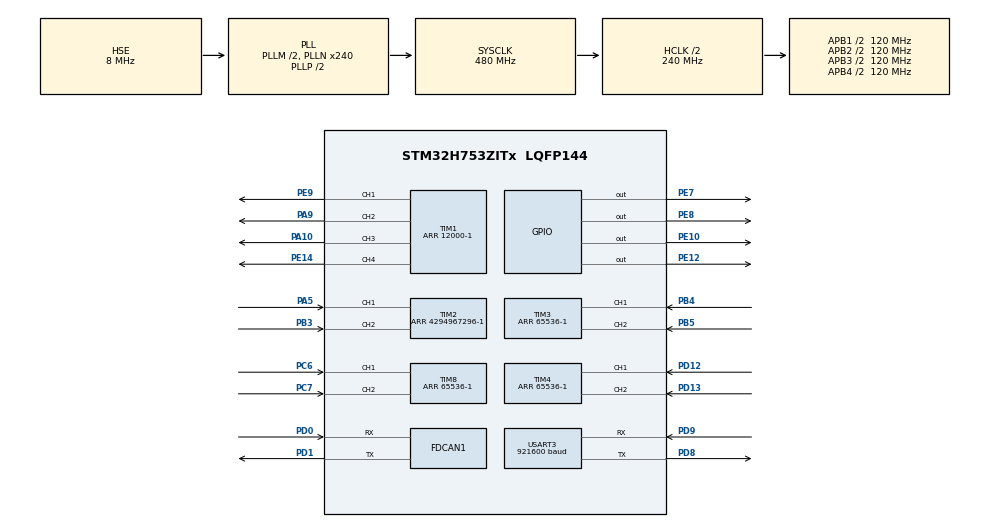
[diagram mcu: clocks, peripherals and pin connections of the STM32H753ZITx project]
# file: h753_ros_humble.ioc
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CORTEX_M7.AccessPermission_Spec=MPU_REGION_FULL_ACCESS
CORTEX_M7.BaseAddress_Spec=0x38000000
CORTEX_M7.CPU_DCache=Enabled
CORTEX_M7.CPU_ICache=Enabled
CORTEX_M7.Enable_S-Cortex_Memory_Protection_Unit_Region1_Settings_S=__NULL
CORTEX_M7.MPU_Control=MPU_HFNMI_PRIVDEF
CORTEX_M7.Size_Spec=MPU_REGION_SIZE_64KB
CORTEX_M7.SubRegionDisable_Spec=0x00
CORTEX_M7.TypeExtField_Spec=MPU_TEX_LEVEL1
CORTEX_M7.default_mode_Activation=1
Dma.Request0=TIM1_UP
Dma.Request1=USART3_RX
Dma.Request2=USART3_TX
Dma.TIM1_UP.0.Direction=DMA_MEMORY_TO_PERIPH
Dma.TIM1_UP.0.EventEnable=DISABLE
Dma.TIM1_UP.0.FIFOMode=DMA_FIFOMODE_ENABLE
Dma.TIM1_UP.0.FIFOThreshold=DMA_FIFO_THRESHOLD_FULL
Dma.TIM1_UP.0.Instance=DMA1_Stream0
Dma.TIM1_UP.0.MemBurst=DMA_MBURST_SINGLE
Dma.TIM1_UP.0.MemDataAlignment=DMA_MDATAALIGN_WORD
Dma.TIM1_UP.0.MemInc=DMA_MINC_ENABLE
Dma.TIM1_UP.0.Mode=DMA_CIRCULAR
Dma.TIM1_UP.0.PeriphBurst=DMA_PBURST_SINGLE
Dma.TIM1_UP.0.PeriphDataAlignment=DMA_PDATAALIGN_WORD
Dma.TIM1_UP.0.PeriphInc=DMA_PINC_DISABLE
Dma.TIM1_UP.0.Polarity=HAL_DMAMUX_REQ_GEN_RISING
Dma.TIM1_UP.0.Priority=DMA_PRIORITY_HIGH
Dma.TIM1_UP.0.RequestNumber=1
Dma.TIM1_UP.0.SignalID=NONE
Dma.TIM1_UP.0.SyncEnable=DISABLE
Dma.TIM1_UP.0.SyncPolarity=HAL_DMAMUX_SYNC_NO_EVENT
Dma.TIM1_UP.0.SyncRequestNumber=1
Dma.TIM1_UP.0.SyncSignalID=NONE
Dma.USART3_RX.1.Direction=DMA_PERIPH_TO_MEMORY
Dma.USART3_RX.1.EventEnable=DISABLE
Dma.USART3_RX.1.FIFOMode=DMA_FIFOMODE_DISABLE
Dma.USART3_RX.1.Instance=DMA1_Stream3
Dma.USART3_RX.1.MemDataAlignment=DMA_MDATAALIGN_BYTE
Dma.USART3_RX.1.MemInc=DMA_MINC_ENABLE
Dma.USART3_RX.1.Mode=DMA_CIRCULAR
Dma.USART3_RX.1.PeriphDataAlignment=DMA_PDATAALIGN_BYTE
Dma.USART3_RX.1.PeriphInc=DMA_PINC_DISABLE
Dma.USART3_RX.1.Polarity=HAL_DMAMUX_REQ_GEN_RISING
Dma.USART3_RX.1.Priority=DMA_PRIORITY_LOW
Dma.USART3_RX.1.RequestNumber=1
Dma.USART3_RX.1.SignalID=NONE
Dma.USART3_RX.1.SyncEnable=DISABLE
Dma.USART3_RX.1.SyncPolarity=HAL_DMAMUX_SYNC_NO_EVENT
Dma.USART3_RX.1.SyncRequestNumber=1
Dma.USART3_RX.1.SyncSignalID=NONE
Dma.USART3_TX.2.Direction=DMA_MEMORY_TO_PERIPH
Dma.USART3_TX.2.EventEnable=DISABLE
Dma.USART3_TX.2.FIFOMode=DMA_FIFOMODE_DISABLE
Dma.USART3_TX.2.Instance=DMA1_Stream4
Dma.USART3_TX.2.MemDataAlignment=DMA_MDATAALIGN_BYTE
Dma.USART3_TX.2.MemInc=DMA_MINC_ENABLE
Dma.USART3_TX.2.Mode=DMA_NORMAL
Dma.USART3_TX.2.PeriphDataAlignment=DMA_PDATAALIGN_BYTE
Dma.USART3_TX.2.PeriphInc=DMA_PINC_DISABLE
Dma.USART3_TX.2.Polarity=HAL_DMAMUX_REQ_GEN_RISING
Dma.USART3_TX.2.Priority=DMA_PRIORITY_LOW
Dma.USART3_TX.2.RequestNumber=1
Dma.USART3_TX.2.SignalID=NONE
Dma.USART3_TX.2.SyncEnable=DISABLE
Dma.USART3_TX.2.SyncPolarity=HAL_DMAMUX_SYNC_NO_EVENT
Dma.USART3_TX.2.SyncRequestNumber=1
Dma.USART3_TX.2.SyncSignalID=NONE
FDCAN1.CalculateBaudRateNominal=1000000
FDCAN1.CalculateTimeBitNominal=1000
FDCAN1.CalculateTimeQuantumNominal=41.666666666666664
FREERTOS.Tasks01=defaultTask,24,4096,StartDefaultTask,Default,NULL,Dynamic,NULL,NULL
FREERTOS.configCHECK_FOR_STACK_OVERFLOW=2
FREERTOS.configENABLE_FPU=1
FREERTOS.configMINIMAL_STACK_SIZE=512
FREERTOS.configTOTAL_HEAP_SIZE=64000
Mcu.Family=STM32H7
Mcu.Name=STM32H753ZITx
Mcu.Package=LQFP144
NUCLEO-H753ZI.BUTTON=1
NUCLEO-H753ZI.Bsp_Common_DEMO=true
NUCLEO-H753ZI.LD1=true
NUCLEO-H753ZI.LD2=true
NUCLEO-H753ZI.LD3=true
NUCLEO-H753ZI.VCP=false
NVIC.DMA1_Stream0_IRQn=true\:5\:0\:false\:false\:true\:true\:false\:true\:true
NVIC.DMA1_Stream3_IRQn=true\:5\:0\:false\:false\:true\:true\:false\:true\:true
NVIC.DMA1_Stream4_IRQn=true\:5\:0\:false\:false\:true\:true\:false\:true\:true
NVIC.EXTI15_10_IRQn=true\:5\:0\:false\:false\:true\:true\:false\:true\:true
NVIC.PriorityGroup=NVIC_PRIORITYGROUP_4
NVIC.TIM2_IRQn=true\:5\:0\:false\:false\:true\:true\:true\:true\:true
NVIC.TIM3_IRQn=true\:5\:0\:false\:false\:true\:true\:true\:true\:true
NVIC.TIM4_IRQn=true\:5\:0\:false\:false\:true\:true\:true\:true\:true
NVIC.TIM6_DAC_IRQn=true\:15\:0\:false\:false\:true\:false\:false\:true\:true
NVIC.TIM8_UP_TIM13_IRQn=true\:5\:0\:false\:false\:true\:true\:true\:true\:true
NVIC.TimeBase=TIM6_DAC_IRQn
NVIC.TimeBaseIP=TIM6
NVIC.USART3_IRQn=true\:5\:0\:false\:false\:true\:true\:true\:true\:true
PA10.Signal=S_TIM1_CH3
PA13\ (JTMS/SWDIO).Mode=Serial_Wire
PA13\ (JTMS/SWDIO).Signal=DEBUG_JTMS-SWDIO
PA14\ (JTCK/SWCLK).Mode=Serial_Wire
PA14\ (JTCK/SWCLK).Signal=DEBUG_JTCK-SWCLK
PA5.Signal=S_TIM2_CH1_ETR
PB4\ (NJTRST).Signal=S_TIM3_CH1
PB5.Signal=S_TIM3_CH2
PA9.Signal=S_TIM1_CH2
PB3\ (JTDO/TRACESWO).Signal=S_TIM2_CH2
PC14-OSC32_IN\ (OSC32_IN).Signal=RCC_OSC32_IN
PC15-OSC32_OUT\ (OSC32_OUT).Signal=RCC_OSC32_OUT
PC6.Signal=S_TIM8_CH1
PC7.Signal=S_TIM8_CH2
PD12.Signal=S_TIM4_CH1
PD13.Signal=S_TIM4_CH2
PD0.GPIO_Speed=GPIO_SPEED_FREQ_VERY_HIGH
PD0.Mode=FDCAN_Activate
PD0.Signal=FDCAN1_RX
PD1.GPIO_Speed=GPIO_SPEED_FREQ_VERY_HIGH
PD1.Mode=FDCAN_Activate
PD1.Signal=FDCAN1_TX
PD8.GPIO_Speed=GPIO_SPEED_FREQ_MEDIUM
PD8.Mode=Asynchronous
PD8.Signal=USART3_TX
PD9.GPIO_Speed=GPIO_SPEED_FREQ_MEDIUM
PD9.Mode=Asynchronous
PD9.Signal=USART3_RX
PE10.Signal=GPIO_Output
PE12.Signal=GPIO_Output
PE14.Signal=S_TIM1_CH4
PE7.Signal=GPIO_Output
PE8.Signal=GPIO_Output
PE9.Signal=S_TIM1_CH1
PH0-OSC_IN\ (PH0).Mode=HSE-External-Clock-Source
PH0-OSC_IN\ (PH0).Signal=RCC_OSC_IN
PH1-OSC_OUT\ (PH1).Signal=RCC_OSC_OUT
ProjectManager.HeapSize=0x200
ProjectManager.StackSize=0x400
ProjectManager.TargetToolchain=CMake
RCC.ADCFreq_Value=240000000
RCC.APB1Freq_Value=120000000
RCC.APB2Freq_Value=120000000
RCC.APB3Freq_Value=120000000
RCC.APB4Freq_Value=120000000
RCC.CortexFreq_Value=480000000
RCC.D1PPRE=RCC_APB3_DIV2
RCC.D2PPRE1=RCC_APB1_DIV2
RCC.D2PPRE2=RCC_APB2_DIV2
RCC.D3PPRE=RCC_APB4_DIV2
RCC.DIVM1=2
RCC.DIVM2=2
RCC.DIVN1=240
RCC.DIVN2=120
RCC.DIVQ1=4
RCC.DIVQ2=4
RCC.FDCANCLockSelection=RCC_FDCANCLKSOURCE_PLL2
RCC.HCLKFreq_Value=240000000
RCC.HPRE=RCC_HCLK_DIV2
RCC.HSE_VALUE=8000000
RCC.PLLFRACN=0
RCC.PLLSourceVirtual=RCC_PLLSOURCE_HSE
RCC.PWR_Regulator_Voltage_Scale=PWR_REGULATOR_VOLTAGE_SCALE0
RCC.SYSCLKFreq_VALUE=480000000
RCC.SYSCLKSource=RCC_SYSCLKSOURCE_PLLCLK
RCC.USBFreq_Value=240000000
SH.S_TIM1_CH1.0=TIM1_CH1,PWM Generation1 CH1
SH.S_TIM1_CH2.0=TIM1_CH2,PWM Generation2 CH2
SH.S_TIM1_CH3.0=TIM1_CH3,PWM Generation3 CH3
SH.S_TIM1_CH4.0=TIM1_CH4,PWM Generation4 CH4
SH.S_TIM2_CH1_ETR.0=TIM2_CH1,Encoder_Interface
SH.S_TIM2_CH2.0=TIM2_CH2,Encoder_Interface
SH.S_TIM3_CH1.0=TIM3_CH1,Encoder_Interface
SH.S_TIM3_CH2.0=TIM3_CH2,Encoder_Interface
SH.S_TIM4_CH1.0=TIM4_CH1,Encoder_Interface
SH.S_TIM4_CH2.0=TIM4_CH2,Encoder_Interface
SH.S_TIM8_CH1.0=TIM8_CH1,Encoder_Interface
SH.S_TIM8_CH2.0=TIM8_CH2,Encoder_Interface
TIM1.AutoReloadPreload=TIM_AUTORELOAD_PRELOAD_ENABLE
TIM1.Channel-PWM\ Generation1\ CH1=TIM_CHANNEL_1
TIM1.Channel-PWM\ Generation2\ CH2=TIM_CHANNEL_2
TIM1.Channel-PWM\ Generation3\ CH3=TIM_CHANNEL_3
TIM1.Channel-PWM\ Generation4\ CH4=TIM_CHANNEL_4
TIM1.Period=12000-1
TIM2.AutoReloadPreload=TIM_AUTORELOAD_PRELOAD_ENABLE
TIM2.EncoderMode=TIM_ENCODERMODE_TI12
TIM2.Period=4294967296-1
TIM3.AutoReloadPreload=TIM_AUTORELOAD_PRELOAD_ENABLE
TIM3.EncoderMode=TIM_ENCODERMODE_TI12
TIM3.Period=65536-1
TIM4.AutoReloadPreload=TIM_AUTORELOAD_PRELOAD_ENABLE
TIM4.EncoderMode=TIM_ENCODERMODE_TI12
TIM4.Period=65536-1
TIM8.AutoReloadPreload=TIM_AUTORELOAD_PRELOAD_ENABLE
TIM8.EncoderMode=TIM_ENCODERMODE_TI12
TIM8.Period=65536-1
USART3.BaudRate=921600
USART3.VirtualMode-Asynchronous=VM_ASYNC
VP_FREERTOS_VS_CMSIS_V2.Mode=CMSIS_V2
VP_MEMORYMAP_VS_MEMORYMAP.Mode=CurAppReg
VP_NUCLEO-H753ZI_VS_BSP_COMMON.Mode=COMMON
VP_SYS_VS_tim6.Mode=TIM6
board=NUCLEO-H753ZI

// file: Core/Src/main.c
/* USER CODE BEGIN Header */
/**
  ******************************************************************************
  * @file           : main.c
  * @brief          : Main program body
  ******************************************************************************
  * @attention
  *
  * Copyright (c) 2026 STMicroelectronics.
  * All rights reserved.
  *
  * This software is licensed under terms that can be found in the LICENSE file
  * in the root directory of this software component.
  * If no LICENSE file comes with this software, it is provided AS-IS.
  *
  ******************************************************************************
  */
/* USER CODE END Header */
#include "main.h"
#include "FreeRTOS.h"
#include "cmsis_os2.h"
#include "dma.h"
#include "fdcan.h"
#include "tim.h"
#include "usart.h"
#include "gpio.h"

/* USER CODE BEGIN PD */
/* Keep UART4 as an optional fallback debug port, but do not initialize it
 * unless we intentionally split transport and human-readable logs. */
#define APP_ENABLE_UART4_DEBUG 0

/* USER CODE END PD */

__IO uint32_t BspButtonState = BUTTON_RELEASED;

void SystemClock_Config(void);
static void MPU_Config(void);
void MX_FREERTOS_Init(void);

/* USER CODE BEGIN 0 */
#include "app_robot.h"
/* USER CODE END 0 */

int main(void)
{

  /* MPU Configuration--------------------------------------------------------*/
  MPU_Config();

  /* Enable the CPU Cache */

  /* Enable I-Cache---------------------------------------------------------*/
  SCB_EnableICache();

  /* Enable D-Cache---------------------------------------------------------*/
  SCB_EnableDCache();

  /* MCU Configuration--------------------------------------------------------*/

  /* Reset of all peripherals, Initializes the Flash interface and the Systick. */
  HAL_Init();

  /* USER CODE BEGIN Init */
  /* Catch bus/memory/usage faults individually instead of escalating everything to HardFault. */
  SCB->SHCSR |= SCB_SHCSR_MEMFAULTENA_Msk;
  SCB->SHCSR |= SCB_SHCSR_BUSFAULTENA_Msk;
  SCB->SHCSR |= SCB_SHCSR_USGFAULTENA_Msk;
  /* Keep divide-by-zero trapping enabled.
   * Unaligned trap is intentionally left off: during micro-ROS bring-up it converted
   * middleware/serialization accesses into UsageFault(UNALIGNED), while Cortex-M7 can
   * handle those accesses in hardware. Re-enable it only after auditing the full stack. */
  SCB->CCR |= SCB_CCR_DIV_0_TRP_Msk;

  /* USER CODE END Init */

  /* Configure the system clock */
  SystemClock_Config();

  /* Initialize all configured peripherals */
  MX_GPIO_Init();
  MX_DMA_Init();
  MX_FDCAN1_Init();
  MX_TIM1_Init();
  MX_TIM2_Init();
  MX_TIM3_Init();
  MX_TIM4_Init();
  MX_USART3_UART_Init();
  MX_TIM8_Init();
  /* USER CODE BEGIN 2 */
  /* Bind the four encoder timers once at boot so the rest of the application
   * can stay independent from the Cube-generated timer globals. */
  app_robot_timer_map_t timer_map = {
      .front_left = &htim3,
      .front_right = &htim4,
      .rear_left = &htim2,
      /* Temporary debug path: move RR encoder off TIM5 onto TIM8 (PC6/PC7). */
      .rear_right = &htim8,
  };

  if (!app_robot_init(&timer_map)) {
    Error_Handler();
  }
  /* USER CODE END 2 */

  /* Init scheduler */
  osKernelInitialize();  /* Call init function for freertos objects (in cmsis_os2.c) */
  MX_FREERTOS_Init();

  /* Initialize leds */
  BSP_LED_Init(LED_GREEN);
  BSP_LED_Init(LED_YELLOW);
  BSP_LED_Init(LED_RED);

  /* Initialize USER push-button, will be used to trigger an interrupt each time it's pressed.*/
  BSP_PB_Init(BUTTON_USER, BUTTON_MODE_EXTI);

  /* USER CODE BEGIN BSP */

  /* Leave all LEDs off here so runtime status indication from FreeRTOS tasks is readable. */
  BSP_LED_Off(LED_GREEN);
  BSP_LED_Off(LED_YELLOW);
  BSP_LED_Off(LED_RED);

  /* USER CODE END BSP */

  /* Start scheduler */
  osKernelStart();

  /* We should never get here as control is now taken by the scheduler */

  /* Infinite loop */
  /* USER CODE BEGIN WHILE */
  while (1)
  {

    /* -- Sample board code for User push-button in interrupt mode ---- */
    if (BspButtonState == BUTTON_PRESSED)
    {
      /* Update button state */
      BspButtonState = BUTTON_RELEASED;
      /* -- Sample board code to toggle leds ---- */
      BSP_LED_Toggle(LED_GREEN);
      BSP_LED_Toggle(LED_YELLOW);
      BSP_LED_Toggle(LED_RED);

      /* ..... Perform your action ..... */
    }
    /* USER CODE END WHILE */

  }
}

void SystemClock_Config(void)
{
  RCC_OscInitTypeDef RCC_OscInitStruct = {0};
  RCC_ClkInitTypeDef RCC_ClkInitStruct = {0};

  /** Supply configuration update enable
  */
  HAL_PWREx_ConfigSupply(PWR_LDO_SUPPLY);

  /** Configure the main internal regulator output voltage
  */
  __HAL_PWR_VOLTAGESCALING_CONFIG(PWR_REGULATOR_VOLTAGE_SCALE0);

  while(!__HAL_PWR_GET_FLAG(PWR_FLAG_VOSRDY)) {}

  /** Initializes the RCC Oscillators according to the specified parameters
  * in the RCC_OscInitTypeDef structure.
  */
  RCC_OscInitStruct.OscillatorType = RCC_OSCILLATORTYPE_HSE;
  RCC_OscInitStruct.HSEState = RCC_HSE_BYPASS;
  RCC_OscInitStruct.PLL.PLLState = RCC_PLL_ON;
  RCC_OscInitStruct.PLL.PLLSource = RCC_PLLSOURCE_HSE;
  RCC_OscInitStruct.PLL.PLLM = 2;
  RCC_OscInitStruct.PLL.PLLN = 240;
  RCC_OscInitStruct.PLL.PLLP = 2;
  RCC_OscInitStruct.PLL.PLLQ = 4;
  RCC_OscInitStruct.PLL.PLLR = 2;
  RCC_OscInitStruct.PLL.PLLRGE = RCC_PLL1VCIRANGE_2;
  RCC_OscInitStruct.PLL.PLLVCOSEL = RCC_PLL1VCOWIDE;
  RCC_OscInitStruct.PLL.PLLFRACN = 0;
  if (HAL_RCC_OscConfig(&RCC_OscInitStruct) != HAL_OK)
  {
    Error_Handler();
  }

  /** Initializes the CPU, AHB and APB buses clocks
  */
  RCC_ClkInitStruct.ClockType = RCC_CLOCKTYPE_HCLK|RCC_CLOCKTYPE_SYSCLK
                              |RCC_CLOCKTYPE_PCLK1|RCC_CLOCKTYPE_PCLK2
                              |RCC_CLOCKTYPE_D3PCLK1|RCC_CLOCKTYPE_D1PCLK1;
  RCC_ClkInitStruct.SYSCLKSource = RCC_SYSCLKSOURCE_PLLCLK;
  RCC_ClkInitStruct.SYSCLKDivider = RCC_SYSCLK_DIV1;
  RCC_ClkInitStruct.AHBCLKDivider = RCC_HCLK_DIV2;
  RCC_ClkInitStruct.APB3CLKDivider = RCC_APB3_DIV2;
  RCC_ClkInitStruct.APB1CLKDivider = RCC_APB1_DIV2;
  RCC_ClkInitStruct.APB2CLKDivider = RCC_APB2_DIV2;
  RCC_ClkInitStruct.APB4CLKDivider = RCC_APB4_DIV2;

  if (HAL_RCC_ClockConfig(&RCC_ClkInitStruct, FLASH_LATENCY_4) != HAL_OK)
  {
    Error_Handler();
  }
}

 /* MPU Configuration */

void MPU_Config(void)
{
  MPU_Region_InitTypeDef MPU_InitStruct = {0};

  /* Disables the MPU */
  HAL_MPU_Disable();

  /** Initializes and configures the Region and the memory to be protected
  */
  MPU_InitStruct.Enable = MPU_REGION_ENABLE;
  MPU_InitStruct.Number = MPU_REGION_NUMBER0;
  MPU_InitStruct.BaseAddress = 0x38000000;
  MPU_InitStruct.Size = MPU_REGION_SIZE_64KB;
  MPU_InitStruct.SubRegionDisable = 0x00;
  MPU_InitStruct.TypeExtField = MPU_TEX_LEVEL1;
  MPU_InitStruct.AccessPermission = MPU_REGION_FULL_ACCESS;
  MPU_InitStruct.DisableExec = MPU_INSTRUCTION_ACCESS_DISABLE;
  MPU_InitStruct.IsShareable = MPU_ACCESS_SHAREABLE;
  MPU_InitStruct.IsCacheable = MPU_ACCESS_NOT_CACHEABLE;
  MPU_InitStruct.IsBufferable = MPU_ACCESS_NOT_BUFFERABLE;

  HAL_MPU_ConfigRegion(&MPU_InitStruct);
  /* Enables the MPU */
  HAL_MPU_Enable(MPU_HFNMI_PRIVDEF);

}

void HAL_TIM_PeriodElapsedCallback(TIM_HandleTypeDef *htim)
{
  if (htim->Instance == TIM6)
  {
    HAL_IncTick();
  }
  /* USER CODE BEGIN Callback 1 */
  // 엔코더 타이머 update interrupt를 소프트웨어 overflow 카운터에 반영해 64비트 절대 틱을 유지합니다.
  if (htim->Instance == TIM2 || htim->Instance == TIM3 || htim->Instance == TIM4 ||
      htim->Instance == TIM8) {
      app_robot_handle_encoder_overflow(htim);
  }
  /* USER CODE END Callback 1 */
}

/**
  * @brief BSP Push Button callback
  * @param Button Specifies the pressed button
  * @retval None
  */
void BSP_PB_Callback(Button_TypeDef Button)
{
  if (Button == BUTTON_USER)
  {
    BspButtonState = BUTTON_PRESSED;
  }
}

void Error_Handler(void)
{
  __disable_irq();
  while (1)
  {
  }
}

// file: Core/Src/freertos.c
/* USER CODE BEGIN Header */
/**
  ******************************************************************************
  * File Name          : freertos.c
  * Description        : Code for freertos applications
  ******************************************************************************
  * @attention
  *
  * Copyright (c) 2026 STMicroelectronics.
  * All rights reserved.
  *
  * This software is licensed under terms that can be found in the LICENSE file
  * in the root directory of this software component.
  * If no LICENSE file comes with this software, it is provided AS-IS.
  *
  ******************************************************************************
  */
/* USER CODE END Header */

#include "FreeRTOS.h"
#include "task.h"
#include "main.h"
#include "cmsis_os2.h"

/* USER CODE BEGIN Includes */
#include "app_uart_smoke.h"
#include "app_robot.h"
#include "can_telemetry.h"
#include "usart.h"
/* USER CODE END Includes */

/* USER CODE BEGIN PD */
/* UART remote control + CAN FD telemetry runtime. */
#define DEFAULT_TASK_STACK_SIZE_BYTES (4096U * sizeof(StackType_t))
/* USER CODE END PD */

/* Definitions for defaultTask */
osThreadId_t defaultTaskHandle;
const osThreadAttr_t defaultTask_attributes = {
  .name = "defaultTask",
  .stack_size = DEFAULT_TASK_STACK_SIZE_BYTES,
  .priority = (osPriority_t) osPriorityNormal,
};

void StartDefaultTask(void *argument);

void MX_FREERTOS_Init(void); /* (MISRA C 2004 rule 8.1) */

/* Hook prototypes */
void vApplicationStackOverflowHook(xTaskHandle xTask, char *pcTaskName);

/* USER CODE BEGIN 4 */
/* Lowest high-water mark observed for the default task, in FreeRTOS stack words.
 * Left in place because it was useful when tracking the earlier micro-ROS fault. */
volatile UBaseType_t g_default_task_stack_low_water_mark_words = 0U;

static void freertos_set_leds(bool green_on, bool yellow_on, bool red_on)
{
   if (green_on) {
      BSP_LED_On(LED_GREEN);
   } else {
      BSP_LED_Off(LED_GREEN);
   }

   if (yellow_on) {
      BSP_LED_On(LED_YELLOW);
   } else {
      BSP_LED_Off(LED_YELLOW);
   }

   if (red_on) {
      BSP_LED_On(LED_RED);
   } else {
      BSP_LED_Off(LED_RED);
   }
}

/* Unused micro-ROS LEDs functions removed */

static void freertos_stack_fault_loop(void)
{
   volatile uint32_t delay_cycles = 4000000U;

   taskDISABLE_INTERRUPTS();

   for (;;) {
      freertos_set_leds(false, false, true);
      for (volatile uint32_t i = 0U; i < delay_cycles; ++i) {
         __NOP();
      }

      freertos_set_leds(false, false, false);
      for (volatile uint32_t i = 0U; i < delay_cycles; ++i) {
         __NOP();
      }
   }
}

/**
  * @brief FreeRTOS stack overflow hook
  * @details
  * - `configCHECK_FOR_STACK_OVERFLOW`가 활성화된 경우 커널이 이 함수를 호출합니다.
  * - 현재 프로젝트에서는 별도 복구 없이 브레이크포인트/디버깅용 훅으로만 남겨둡니다.
  * @param xTask 오버플로우가 감지된 태스크 핸들
  * @param pcTaskName 오버플로우가 감지된 태스크 이름
  */
void vApplicationStackOverflowHook(xTaskHandle xTask, char *pcTaskName)
{
   /* Run time stack overflow checking is performed if
   configCHECK_FOR_STACK_OVERFLOW is defined to 1 or 2. This hook function is
   called if a stack overflow is detected. */
   (void) xTask;
   (void) pcTaskName;
   freertos_stack_fault_loop();
}
/* USER CODE END 4 */

void MX_FREERTOS_Init(void) {

  /* Create the thread(s) */
  /* creation of defaultTask */
  defaultTaskHandle = osThreadNew(StartDefaultTask, NULL, &defaultTask_attributes);

}

/* USER CODE BEGIN Header_StartDefaultTask */
/**
 * @brief  메인 제어 루프(Default Task)
 * @details
 * - UART3에서 Xbox/키보드 원격 주행 패킷을 수신해 좌/우 모터 duty를 갱신합니다.
 * - 같은 루프에서 엔코더 기반 차체/바퀴 속도를 갱신합니다.
 * - CAN FD+BRS telemetry 프레임으로 PC에 주행 데이터를 송신합니다.
  * @param  argument: Not used
  * @retval None
  */
/* USER CODE END Header_StartDefaultTask */
void StartDefaultTask(void *argument)
{
  /* USER CODE BEGIN StartDefaultTask */
  (void) argument;

  robot_status_t *robot = app_robot_get_state();

  if (!app_uart_smoke_init(robot, &huart3)) {
      freertos_set_leds(false, false, true);
      Error_Handler();
  }

  if (!can_telemetry_init()) {
      freertos_set_leds(false, false, true);
      Error_Handler();
  }

  freertos_set_leds(true, false, false); /* 초록: 통합 런타임 정상 기동 */

  const uint32_t period_ms = app_uart_smoke_get_period_ms();
  TickType_t last_wake_tick = xTaskGetTickCount();

  for (;;) {
      uint32_t now_ms = (uint32_t) osKernelGetTickCount();
      TickType_t next_wake_tick = last_wake_tick + pdMS_TO_TICKS(period_ms);
      int32_t wait_ticks = (int32_t) (next_wake_tick - now_ms);
      app_uart_smoke_control_state_t uart_state = {0};
      can_telemetry_drive_state_t drive_state = {0};
      uint32_t flags;

      if (wait_ticks < 0) {
          wait_ticks = 0;
      }

      flags = osThreadFlagsWait(0x01, osFlagsWaitAny, wait_ticks);

      now_ms = (uint32_t) osKernelGetTickCount();
      app_uart_smoke_process(now_ms);
      app_uart_smoke_get_control_state(&uart_state);

      drive_state.duty_percent = uart_state.duty_percent;
      drive_state.left_duty_percent = uart_state.left_duty_percent;
      drive_state.right_duty_percent = uart_state.right_duty_percent;
      drive_state.curve_ratio_percent = uart_state.curve_ratio_percent;
      drive_state.motion = uart_state.motion;
      drive_state.is_motion_active = uart_state.is_motion_active;

      can_telemetry_process(robot, &drive_state, now_ms);

      if (flags == osFlagsErrorTimeout ||
          (int32_t) (next_wake_tick - osKernelGetTickCount()) <= 0) {
          last_wake_tick = next_wake_tick;
      }
  }
  /* USER CODE END StartDefaultTask */
}
